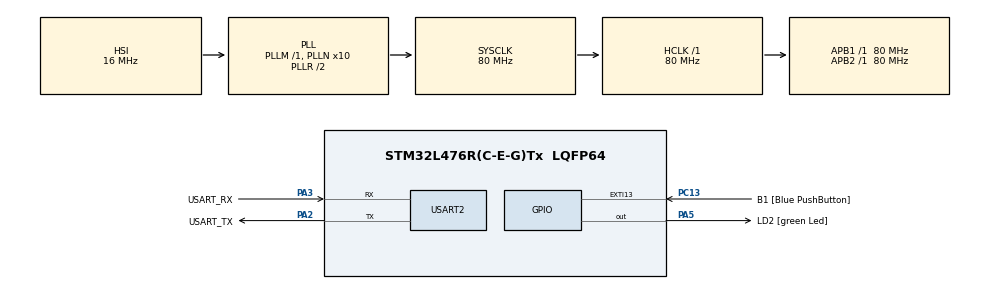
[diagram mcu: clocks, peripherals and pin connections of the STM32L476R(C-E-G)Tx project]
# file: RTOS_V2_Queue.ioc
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FREERTOS.Queues01=myQueue01,3,xData,0,Dynamic,NULL,NULL
FREERTOS.Tasks01=Sender1,24,256,StartSender1,Default,Sender1_data,Dynamic,NULL,NULL;Sender2,24,256,StartSender2,Default,Sender2_data,Dynamic,NULL,NULL;Receiver,21,256,StartReceiver,Default,NULL,Dynamic,NULL,NULL
FREERTOS.configTOTAL_HEAP_SIZE=5000
FREERTOS.configUSE_NEWLIB_REENTRANT=1
Mcu.Family=STM32L4
Mcu.Name=STM32L476R(C-E-G)Tx
Mcu.Package=LQFP64
NVIC.PriorityGroup=NVIC_PRIORITYGROUP_4
NVIC.TIM6_DAC_IRQn=true\:15\:0\:false\:false\:true\:false\:false\:true\:true
NVIC.TimeBase=TIM6_DAC_IRQn
NVIC.TimeBaseIP=TIM6
PA13\ (JTMS-SWDIO).GPIO_Label=TMS
PA13\ (JTMS-SWDIO).Mode=Serial_Wire
PA13\ (JTMS-SWDIO).Signal=SYS_JTMS-SWDIO
PA14\ (JTCK-SWCLK).GPIO_Label=TCK
PA14\ (JTCK-SWCLK).Mode=Serial_Wire
PA14\ (JTCK-SWCLK).Signal=SYS_JTCK-SWCLK
PA2.GPIO_Label=USART_TX
PA2.GPIO_Mode=GPIO_MODE_AF_PP
PA2.GPIO_PuPd=GPIO_NOPULL
PA2.GPIO_Speed=GPIO_SPEED_FREQ_VERY_HIGH
PA2.Mode=Asynchronous
PA2.Signal=USART2_TX
PA3.GPIO_Label=USART_RX
PA3.GPIO_Mode=GPIO_MODE_AF_PP
PA3.GPIO_PuPd=GPIO_NOPULL
PA3.GPIO_Speed=GPIO_SPEED_FREQ_VERY_HIGH
PA3.Mode=Asynchronous
PA3.Signal=USART2_RX
PA5.GPIO_Label=LD2 [green Led]
PA5.GPIO_ModeDefaultOutputPP=GPIO_MODE_OUTPUT_PP
PA5.GPIO_PuPd=GPIO_NOPULL
PA5.GPIO_Speed=GPIO_SPEED_FREQ_LOW
PA5.Signal=GPIO_Output
PB3\ (JTDO-TRACESWO).GPIO_Label=SWO
PB3\ (JTDO-TRACESWO).Signal=SYS_JTDO-SWO
PC13.GPIO_Label=B1 [Blue PushButton]
PC13.GPIO_ModeDefaultEXTI=GPIO_MODE_IT_FALLING
PC13.GPIO_PuPd=GPIO_NOPULL
PC13.Signal=GPXTI13
PC14-OSC32_IN\ (PC14).Mode=LSE-External-Oscillator
PC14-OSC32_IN\ (PC14).Signal=RCC_OSC32_IN
PC15-OSC32_OUT\ (PC15).Mode=LSE-External-Oscillator
PC15-OSC32_OUT\ (PC15).Signal=RCC_OSC32_OUT
PH0-OSC_IN\ (PH0).Signal=RCC_OSC_IN
PH1-OSC_OUT\ (PH1).Signal=RCC_OSC_OUT
ProjectManager.HeapSize=0x200
ProjectManager.StackSize=0x400
ProjectManager.TargetToolchain=STM32CubeIDE
RCC.ADCFreq_Value=64000000
RCC.AHBFreq_Value=80000000
RCC.APB1Freq_Value=80000000
RCC.APB1TimFreq_Value=80000000
RCC.APB2Freq_Value=80000000
RCC.APB2TimFreq_Value=80000000
RCC.CortexFreq_Value=80000000
RCC.HCLKFreq_Value=80000000
RCC.HSE_VALUE=8000000
RCC.HSI_VALUE=16000000
RCC.MSI_VALUE=4000000
RCC.PLLN=10
RCC.PLLSourceVirtual=RCC_PLLSOURCE_HSI
RCC.PREFETCH_ENABLE=1
RCC.SYSCLKFreq_VALUE=80000000
RCC.SYSCLKSource=RCC_SYSCLKSOURCE_PLLCLK
RCC.USBFreq_Value=64000000
RCC.VCOOutputFreq_Value=160000000
USART2.VirtualMode-Asynchronous=VM_ASYNC
VP_FREERTOS_VS_CMSIS_V2.Mode=CMSIS_V2
VP_SYS_VS_tim6.Mode=TIM6
board=NUCLEO-L476RG

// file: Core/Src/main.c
/* USER CODE BEGIN Header */
/**
  ******************************************************************************
  * @file           : main.c
  * @brief          : Main program body
  ******************************************************************************
  * @attention
  *
  * Copyright (c) 2023 STMicroelectronics.
  * All rights reserved.
  *
  * This software is licensed under terms that can be found in the LICENSE file
  * in the root directory of this software component.
  * If no LICENSE file comes with this software, it is provided AS-IS.
  *
  ******************************************************************************
  */
/* USER CODE END Header */
#include "main.h"
#include "cmsis_os.h"

/* USER CODE BEGIN Includes */
#include <stdio.h>
#include <string.h>
/* USER CODE END Includes */

/* USER CODE BEGIN PTD */
/* Define the structure type that will be passed on the queue. */
/* Define an enumerated type used to identify the source of the data. */
typedef enum
{
  eSender1,
  eSender2
} DataSource_t;
/* Define the structure type that will be passed on the queue. */
typedef struct
{
  uint8_t ucValue;
  DataSource_t eDataSource;
} Data_t;
/* Declare two variables of type Data_t that will be passed on the queue. */
//static const
Data_t xStructsToSend[2] =
{
  { 100, eSender1 }, /* Used by Sender1. */
  { 200, eSender2 } /* Used by Sender2. */
};
/* USER CODE END PTD */

UART_HandleTypeDef huart2;

/* Definitions for Sender1 */
osThreadId_t Sender1Handle;
const osThreadAttr_t Sender1_attributes = {
  .name = "Sender1",
  .stack_size = 256 * 4,
  .priority = (osPriority_t) osPriorityNormal,
};
/* Definitions for Sender2 */
osThreadId_t Sender2Handle;
const osThreadAttr_t Sender2_attributes = {
  .name = "Sender2",
  .stack_size = 256 * 4,
  .priority = (osPriority_t) osPriorityNormal,
};
/* Definitions for Receiver */
osThreadId_t ReceiverHandle;
const osThreadAttr_t Receiver_attributes = {
  .name = "Receiver",
  .stack_size = 256 * 4,
  .priority = (osPriority_t) osPriorityBelowNormal5,
};
/* Definitions for myQueue01 */
osMessageQueueId_t myQueue01Handle;
const osMessageQueueAttr_t myQueue01_attributes = {
  .name = "myQueue01"
};
/* USER CODE BEGIN PV */
/* Declare two variables of type xData that will be passed on the queue. */

/* USER CODE END PV */

void SystemClock_Config(void);
static void MX_GPIO_Init(void);
static void MX_USART2_UART_Init(void);
void StartSender1(void *argument);
void StartSender2(void *argument);
void StartReceiver(void *argument);

/* USER CODE BEGIN 0 */
int _write(int file, char *ptr, int len)
{
  /* Implement your write code here, this is used by puts and printf for example */
  int i=0;
  for(i=0 ; i<len ; i++)
    ITM_SendChar((*ptr++));
  return len;
}
/* USER CODE END 0 */

int main(void)
{

  /* MCU Configuration--------------------------------------------------------*/

  /* Reset of all peripherals, Initializes the Flash interface and the Systick. */
  HAL_Init();

  /* Configure the system clock */
  SystemClock_Config();

  /* Initialize all configured peripherals */
  MX_GPIO_Init();
  MX_USART2_UART_Init();

  /* Init scheduler */
  osKernelInitialize();

  /* Create the queue(s) */
  /* creation of myQueue01 */
  myQueue01Handle = osMessageQueueNew (3, sizeof(Data_t), &myQueue01_attributes);

  /* Create the thread(s) */
  /* creation of Sender1 */
  Sender1Handle = osThreadNew(StartSender1, &(xStructsToSend[0]), &Sender1_attributes);

  /* creation of Sender2 */
  Sender2Handle = osThreadNew(StartSender2, &(xStructsToSend[1]), &Sender2_attributes);

  /* creation of Receiver */
  ReceiverHandle = osThreadNew(StartReceiver, NULL, &Receiver_attributes);

  /* Start scheduler */
  osKernelStart();
  /* We should never get here as control is now taken by the scheduler */
  /* Infinite loop */
  while (1)
  {

  }
}

void SystemClock_Config(void)
{
  RCC_OscInitTypeDef RCC_OscInitStruct = {0};
  RCC_ClkInitTypeDef RCC_ClkInitStruct = {0};

  /** Configure the main internal regulator output voltage
  */
  if (HAL_PWREx_ControlVoltageScaling(PWR_REGULATOR_VOLTAGE_SCALE1) != HAL_OK)
  {
    Error_Handler();
  }

  /** Initializes the RCC Oscillators according to the specified parameters
  * in the RCC_OscInitTypeDef structure.
  */
  RCC_OscInitStruct.OscillatorType = RCC_OSCILLATORTYPE_HSI;
  RCC_OscInitStruct.HSIState = RCC_HSI_ON;
  RCC_OscInitStruct.HSICalibrationValue = RCC_HSICALIBRATION_DEFAULT;
  RCC_OscInitStruct.PLL.PLLState = RCC_PLL_ON;
  RCC_OscInitStruct.PLL.PLLSource = RCC_PLLSOURCE_HSI;
  RCC_OscInitStruct.PLL.PLLM = 1;
  RCC_OscInitStruct.PLL.PLLN = 10;
  RCC_OscInitStruct.PLL.PLLP = RCC_PLLP_DIV7;
  RCC_OscInitStruct.PLL.PLLQ = RCC_PLLQ_DIV2;
  RCC_OscInitStruct.PLL.PLLR = RCC_PLLR_DIV2;
  if (HAL_RCC_OscConfig(&RCC_OscInitStruct) != HAL_OK)
  {
    Error_Handler();
  }

  /** Initializes the CPU, AHB and APB buses clocks
  */
  RCC_ClkInitStruct.ClockType = RCC_CLOCKTYPE_HCLK|RCC_CLOCKTYPE_SYSCLK
                              |RCC_CLOCKTYPE_PCLK1|RCC_CLOCKTYPE_PCLK2;
  RCC_ClkInitStruct.SYSCLKSource = RCC_SYSCLKSOURCE_PLLCLK;
  RCC_ClkInitStruct.AHBCLKDivider = RCC_SYSCLK_DIV1;
  RCC_ClkInitStruct.APB1CLKDivider = RCC_HCLK_DIV1;
  RCC_ClkInitStruct.APB2CLKDivider = RCC_HCLK_DIV1;

  if (HAL_RCC_ClockConfig(&RCC_ClkInitStruct, FLASH_LATENCY_4) != HAL_OK)
  {
    Error_Handler();
  }
}

static void MX_USART2_UART_Init(void)
{

  huart2.Instance = USART2;
  huart2.Init.BaudRate = 115200;
  huart2.Init.WordLength = UART_WORDLENGTH_8B;
  huart2.Init.StopBits = UART_STOPBITS_1;
  huart2.Init.Parity = UART_PARITY_NONE;
  huart2.Init.Mode = UART_MODE_TX_RX;
  huart2.Init.HwFlowCtl = UART_HWCONTROL_NONE;
  huart2.Init.OverSampling = UART_OVERSAMPLING_16;
  huart2.Init.OneBitSampling = UART_ONE_BIT_SAMPLE_DISABLE;
  huart2.AdvancedInit.AdvFeatureInit = UART_ADVFEATURE_NO_INIT;
  if (HAL_UART_Init(&huart2) != HAL_OK)
  {
    Error_Handler();
  }

}

static void MX_GPIO_Init(void)
{
  GPIO_InitTypeDef GPIO_InitStruct = {0};

  /* GPIO Ports Clock Enable */
  __HAL_RCC_GPIOC_CLK_ENABLE();
  __HAL_RCC_GPIOH_CLK_ENABLE();
  __HAL_RCC_GPIOA_CLK_ENABLE();
  __HAL_RCC_GPIOB_CLK_ENABLE();

  /*Configure GPIO pin Output Level */
  HAL_GPIO_WritePin(LD2_GPIO_Port, LD2_Pin, GPIO_PIN_RESET);

  /*Configure GPIO pin : B1_Pin */
  GPIO_InitStruct.Pin = B1_Pin;
  GPIO_InitStruct.Mode = GPIO_MODE_IT_FALLING;
  GPIO_InitStruct.Pull = GPIO_NOPULL;
  HAL_GPIO_Init(B1_GPIO_Port, &GPIO_InitStruct);

  /*Configure GPIO pin : LD2_Pin */
  GPIO_InitStruct.Pin = LD2_Pin;
  GPIO_InitStruct.Mode = GPIO_MODE_OUTPUT_PP;
  GPIO_InitStruct.Pull = GPIO_NOPULL;
  GPIO_InitStruct.Speed = GPIO_SPEED_FREQ_LOW;
  HAL_GPIO_Init(LD2_GPIO_Port, &GPIO_InitStruct);

}

void StartSender1(void *argument)
{
  /* USER CODE BEGIN 5 */
  /* Infinite loop */
  BaseType_t osStatus_t;
  const TickType_t xTicksToWait = pdMS_TO_TICKS( 100 );
  for(;;)
  {
	osStatus_t = osMessageQueuePut( myQueue01Handle, argument, 0, xTicksToWait);
    if( osStatus_t != osOK )
	  {
	  /* The send operation could not complete, even after waiting for 100ms.
	  This must be an error as the receiving task should make space in the
	  queue as soon as both sending tasks are in the Blocked state. */
	  printf("%s", "Could not send to the queue.\r\n");
	  }
	  /* Allow the other sender task to execute. */
    //taskYIELD();
    //osDelay(1);
  }
  /* USER CODE END 5 */
}

void StartSender2(void *argument)
{
  /* USER CODE BEGIN StartSender2 */
  /* Infinite loop */
  BaseType_t osStatus_t;
  const TickType_t xTicksToWait = pdMS_TO_TICKS( 100 );
  for(;;)
  {
	osStatus_t = osMessageQueuePut( myQueue01Handle, argument, 0, xTicksToWait);
    if( osStatus_t != osOK )
	  {
	    /* The send operation could not complete, even after waiting for 100ms.
	  	This must be an error as the receiving task should make space in the
	  	queue as soon as both sending tasks are in the Blocked state. */
	  	printf("%s", "Could not send to the queue.\r\n");
	  }
	/* Allow the other sender task to execute. */
	//taskYIELD();
    //osDelay(1);
  }
  /* USER CODE END StartSender2 */
}

void StartReceiver(void *argument)
{
  /* USER CODE BEGIN StartReceiver */
  /* Infinite loop */
  Data_t xReceivedStructure;
  BaseType_t osStatus_t;
  for(;;)
  {
    if( osMessageQueueGetCount(myQueue01Handle) != 3 )
	  {
	    printf("Queue should have been full!\r\n");
	  }
    osStatus_t = osMessageQueueGet(myQueue01Handle, &(xReceivedStructure), 0, 0);
    if( osStatus_t == osOK )
      {
        /* Data was successfully received from the queue, print out the received
        value and the source of the value. */
        if( xReceivedStructure.eDataSource == eSender1 )
          {
            printf("%s%d\n", "From Sender 1 = ", xReceivedStructure.ucValue );
          }
        else
          {
        	printf("%s%d\n", "From Sender 2 = ", xReceivedStructure.ucValue );
          }
      }
    else
      {
        /* Nothing was received from the queue. This must be an error as this
        task should only run when the queue is full. */
    	printf("%s", "Could not receive from the queue.\r\n" );
      }
    //osDelay(1);
  }
  /* USER CODE END StartReceiver */
}

void HAL_TIM_PeriodElapsedCallback(TIM_HandleTypeDef *htim)
{
  if (htim->Instance == TIM6) {
    HAL_IncTick();
  }
}

void Error_Handler(void)
{
  __disable_irq();
  while (1)
  {
  }
}
